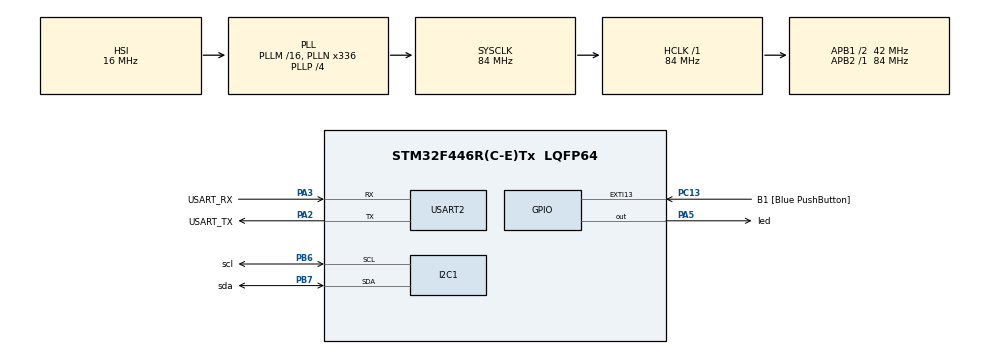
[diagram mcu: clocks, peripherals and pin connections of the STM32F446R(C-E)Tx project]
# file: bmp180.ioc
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Mcu.Family=STM32F4
Mcu.Name=STM32F446R(C-E)Tx
Mcu.Package=LQFP64
NVIC.PriorityGroup=NVIC_PRIORITYGROUP_0
PA13.GPIO_Label=TMS
PA13.Mode=Serial_Wire
PA13.Signal=SYS_JTMS-SWDIO
PA14.GPIO_Label=TCK
PA14.Mode=Serial_Wire
PA14.Signal=SYS_JTCK-SWCLK
PA2.GPIO_Label=USART_TX
PA2.Mode=Asynchronous
PA2.Signal=USART2_TX
PA3.GPIO_Label=USART_RX
PA3.Mode=Asynchronous
PA3.Signal=USART2_RX
PA5.GPIO_Label=led
PA5.Signal=GPIO_Output
PB3.GPIO_Label=SWO
PB3.Signal=SYS_JTDO-SWO
PB6.GPIO_Label=scl
PB6.Mode=I2C
PB6.Signal=I2C1_SCL
PB7.GPIO_Label=sda
PB7.Mode=I2C
PB7.Signal=I2C1_SDA
PC13.GPIO_Label=B1 [Blue PushButton]
PC13.GPIO_ModeDefaultEXTI=GPIO_MODE_IT_FALLING
PC13.Signal=GPXTI13
PC14-OSC32_IN.Mode=LSE-External-Oscillator
PC14-OSC32_IN.Signal=RCC_OSC32_IN
PC15-OSC32_OUT.Mode=LSE-External-Oscillator
PC15-OSC32_OUT.Signal=RCC_OSC32_OUT
PH0-OSC_IN.Mode=HSE-External-Oscillator
PH0-OSC_IN.Signal=RCC_OSC_IN
PH1-OSC_OUT.Mode=HSE-External-Oscillator
PH1-OSC_OUT.Signal=RCC_OSC_OUT
ProjectManager.HeapSize=0x200
ProjectManager.StackSize=0x400
ProjectManager.TargetToolchain=STM32CubeIDE
RCC.48MHZClocksFreq_Value=84000000
RCC.AHBFreq_Value=84000000
RCC.APB1CLKDivider=RCC_HCLK_DIV2
RCC.APB1Freq_Value=42000000
RCC.APB1TimFreq_Value=84000000
RCC.APB2Freq_Value=84000000
RCC.APB2TimFreq_Value=84000000
RCC.CortexFreq_Value=84000000
RCC.FLatency-AdvancedSettings=FLASH_LATENCY_2
RCC.HCLKFreq_Value=84000000
RCC.HSE_VALUE=8000000
RCC.HSI_VALUE=16000000
RCC.PLLN=336
RCC.PLLP=RCC_PLLP_DIV4
RCC.SYSCLKFreq_VALUE=84000000
RCC.SYSCLKSource=RCC_SYSCLKSOURCE_PLLCLK
RCC.USBFreq_Value=168000000
RCC.VCOOutputFreq_Value=336000000
USART2.VirtualMode=VM_ASYNC
board=NUCLEO-F446RE

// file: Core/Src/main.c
/* USER CODE BEGIN Header */
/**
  ******************************************************************************
  * @file           : main.c
  * @brief          : Main program body
  ******************************************************************************
  * @attention
  *
  * Copyright (c) 2025 STMicroelectronics.
  * All rights reserved.
  *
  * This software is licensed under terms that can be found in the LICENSE file
  * in the root directory of this software component.
  * If no LICENSE file comes with this software, it is provided AS-IS.
  *
  ******************************************************************************
  */
/* USER CODE END Header */
#include "main.h"

I2C_HandleTypeDef hi2c1;

UART_HandleTypeDef huart2;

/* USER CODE BEGIN PV */

//uint16_t data[];

/* USER CODE END PV */

void SystemClock_Config(void);
static void MX_GPIO_Init(void);
static void MX_USART2_UART_Init(void);
static void MX_I2C1_Init(void);

/* USER CODE BEGIN 0 */
void BMP180_Init();

/* USER CODE END 0 */

int main(void)
{

  /* MCU Configuration--------------------------------------------------------*/

  /* Reset of all peripherals, Initializes the Flash interface and the Systick. */
  HAL_Init();

  /* Configure the system clock */
  SystemClock_Config();

  /* Initialize all configured peripherals */
  MX_GPIO_Init();
  MX_USART2_UART_Init();
  MX_I2C1_Init();
  /* USER CODE BEGIN 2 */

BMP180_Init();

  /* USER CODE END 2 */

  /* Infinite loop */
  while (1)
  {

  }
}

void SystemClock_Config(void)
{
  RCC_OscInitTypeDef RCC_OscInitStruct = {0};
  RCC_ClkInitTypeDef RCC_ClkInitStruct = {0};

  /** Configure the main internal regulator output voltage
  */
  __HAL_RCC_PWR_CLK_ENABLE();
  __HAL_PWR_VOLTAGESCALING_CONFIG(PWR_REGULATOR_VOLTAGE_SCALE3);

  /** Initializes the RCC Oscillators according to the specified parameters
  * in the RCC_OscInitTypeDef structure.
  */
  RCC_OscInitStruct.OscillatorType = RCC_OSCILLATORTYPE_HSI;
  RCC_OscInitStruct.HSIState = RCC_HSI_ON;
  RCC_OscInitStruct.HSICalibrationValue = RCC_HSICALIBRATION_DEFAULT;
  RCC_OscInitStruct.PLL.PLLState = RCC_PLL_ON;
  RCC_OscInitStruct.PLL.PLLSource = RCC_PLLSOURCE_HSI;
  RCC_OscInitStruct.PLL.PLLM = 16;
  RCC_OscInitStruct.PLL.PLLN = 336;
  RCC_OscInitStruct.PLL.PLLP = RCC_PLLP_DIV4;
  RCC_OscInitStruct.PLL.PLLQ = 2;
  RCC_OscInitStruct.PLL.PLLR = 2;
  if (HAL_RCC_OscConfig(&RCC_OscInitStruct) != HAL_OK)
  {
    Error_Handler();
  }

  /** Initializes the CPU, AHB and APB buses clocks
  */
  RCC_ClkInitStruct.ClockType = RCC_CLOCKTYPE_HCLK|RCC_CLOCKTYPE_SYSCLK
                              |RCC_CLOCKTYPE_PCLK1|RCC_CLOCKTYPE_PCLK2;
  RCC_ClkInitStruct.SYSCLKSource = RCC_SYSCLKSOURCE_PLLCLK;
  RCC_ClkInitStruct.AHBCLKDivider = RCC_SYSCLK_DIV1;
  RCC_ClkInitStruct.APB1CLKDivider = RCC_HCLK_DIV2;
  RCC_ClkInitStruct.APB2CLKDivider = RCC_HCLK_DIV1;

  if (HAL_RCC_ClockConfig(&RCC_ClkInitStruct, FLASH_LATENCY_2) != HAL_OK)
  {
    Error_Handler();
  }
}

static void MX_I2C1_Init(void)
{

  hi2c1.Instance = I2C1;
  hi2c1.Init.ClockSpeed = 100000;
  hi2c1.Init.DutyCycle = I2C_DUTYCYCLE_2;
  hi2c1.Init.OwnAddress1 = 0;
  hi2c1.Init.AddressingMode = I2C_ADDRESSINGMODE_7BIT;
  hi2c1.Init.DualAddressMode = I2C_DUALADDRESS_DISABLE;
  hi2c1.Init.OwnAddress2 = 0;
  hi2c1.Init.GeneralCallMode = I2C_GENERALCALL_DISABLE;
  hi2c1.Init.NoStretchMode = I2C_NOSTRETCH_DISABLE;
  if (HAL_I2C_Init(&hi2c1) != HAL_OK)
  {
    Error_Handler();
  }

}

static void MX_USART2_UART_Init(void)
{

  huart2.Instance = USART2;
  huart2.Init.BaudRate = 115200;
  huart2.Init.WordLength = UART_WORDLENGTH_8B;
  huart2.Init.StopBits = UART_STOPBITS_1;
  huart2.Init.Parity = UART_PARITY_NONE;
  huart2.Init.Mode = UART_MODE_TX_RX;
  huart2.Init.HwFlowCtl = UART_HWCONTROL_NONE;
  huart2.Init.OverSampling = UART_OVERSAMPLING_16;
  if (HAL_UART_Init(&huart2) != HAL_OK)
  {
    Error_Handler();
  }

}

static void MX_GPIO_Init(void)
{
  GPIO_InitTypeDef GPIO_InitStruct = {0};

  /* GPIO Ports Clock Enable */
  __HAL_RCC_GPIOC_CLK_ENABLE();
  __HAL_RCC_GPIOH_CLK_ENABLE();
  __HAL_RCC_GPIOA_CLK_ENABLE();
  __HAL_RCC_GPIOB_CLK_ENABLE();

  /*Configure GPIO pin Output Level */
  HAL_GPIO_WritePin(led_GPIO_Port, led_Pin, GPIO_PIN_RESET);

  /*Configure GPIO pin : B1_Pin */
  GPIO_InitStruct.Pin = B1_Pin;
  GPIO_InitStruct.Mode = GPIO_MODE_IT_FALLING;
  GPIO_InitStruct.Pull = GPIO_NOPULL;
  HAL_GPIO_Init(B1_GPIO_Port, &GPIO_InitStruct);

  /*Configure GPIO pin : led_Pin */
  GPIO_InitStruct.Pin = led_Pin;
  GPIO_InitStruct.Mode = GPIO_MODE_OUTPUT_PP;
  GPIO_InitStruct.Pull = GPIO_NOPULL;
  GPIO_InitStruct.Speed = GPIO_SPEED_FREQ_LOW;
  HAL_GPIO_Init(led_GPIO_Port, &GPIO_InitStruct);

}

/* USER CODE BEGIN 4 */

void BMP180_Init(){
	uint16_t ppointer[2];
	uint16_t deger;
//	uint16_t AC1,AC2,AC3,AC4,AC5,AC6,B1,B2,MB,MC,MD;
	  HAL_StatusTypeDef sart = HAL_I2C_IsDeviceReady(&hi2c1, 0xEE, 1, 100);
	  if (sart == HAL_OK){

		  HAL_GPIO_WritePin(led_GPIO_Port, led_Pin, 0);

		  HAL_StatusTypeDef start;
		  start = HAL_I2C_Mem_Write(&hi2c1, 0xEE, 0xF4, 1, 0x2E, 1, 100);
		  HAL_Delay(5);

		  start = HAL_I2C_Mem_Read(&hi2c1, 0xEF, 0xF6, 1, ppointer, 1, 100);

		  if (start == HAL_OK){
			  deger = (ppointer[0]<<1) | ppointer[1];
			 for (int i = 0 ; i < deger ; i ++ ){
				 HAL_GPIO_TogglePin(led_GPIO_Port, led_Pin);
				 HAL_Delay(100);
			 }

		  }

	  }
	  else {

		  HAL_GPIO_WritePin(led_GPIO_Port, led_Pin, 1);
	  }

 }

/* USER CODE END 4 */

void Error_Handler(void)
{
  __disable_irq();
  while (1)
  {
  }
}
